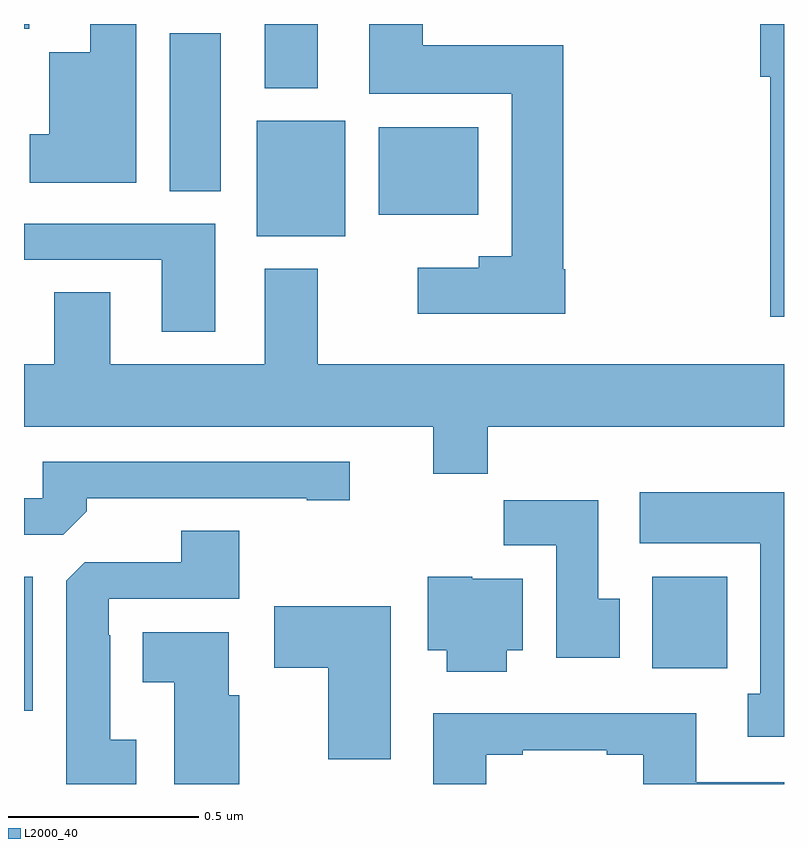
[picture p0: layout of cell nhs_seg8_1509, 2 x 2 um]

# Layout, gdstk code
import gdstk
lib = gdstk.Library(unit=1e-6, precision=1e-09)
def R(c, l, rs):  # rectangles x0, y0, x1, y1
    for r in rs: c.add(gdstk.rectangle(r[:2], r[2:], *l))
def P(c, l, *ps):  # polygons
    for p in ps: c.add(gdstk.Polygon(p, *l))
L2000_40 = (2000, 40)

nhs_seg8_1509 = lib.new_cell('nhs_seg8_1509')
R(nhs_seg8_1509, L2000_40, [(131,1109.093,131.023,1109.446), (132.653,1109.204,132.85,1109.446), (131.612,1110.341,131.845,1110.646), (131.933,1110.398,132.196,1110.628), (131.384,1110.46,131.518,1110.876), (131.633,1110.731,131.773,1110.9), (131,1110.888,131.014,1110.9)])
P(nhs_seg8_1509, L2000_40, [(132.424,1110.255),(132.419,1110.255),(132.419,1110.844),(132.049,1110.844),(132.049,1110.9),(131.909,1110.9),(131.909,1110.716),(132.284,1110.716),(132.284,1110.289),(132.197,1110.289),(132.197,1110.259),(132.036,1110.259),(132.036,1110.137),(132.424,1110.137)],
  [(133,1110.9),(132.938,1110.9),(132.938,1110.761),(132.964,1110.761),(132.964,1110.129),(133,1110.129)],
  [(131.296,1110.9),(131.174,1110.9),(131.174,1110.826),(131.066,1110.826),(131.066,1110.61),(131.015,1110.61),(131.015,1110.482),(131.296,1110.482)],
  [(131.503,1110.375),(131,1110.375),(131,1110.279),(131.363,1110.279),(131.363,1110.09),(131.503,1110.09)],
  [(132.221,1109.84),(133,1109.84),(133,1110.004),(131.773,1110.004),(131.773,1110.256),(131.633,1110.256),(131.633,1110.004),(131.227,1110.004),(131.227,1110.194),(131.08,1110.194),(131.08,1110.004),(131,1110.004),(131,1109.84),(132.077,1109.84),(132.077,1109.716),(132.221,1109.716)],
  [(131.165,1109.618),(131.165,1109.652),(131.744,1109.652),(131.744,1109.647),(131.857,1109.647),(131.857,1109.748),(131.049,1109.748),(131.049,1109.652),(131,1109.652),(131,1109.556),(131.103,1109.556)],
  [(133,1109.668),(132.621,1109.668),(132.621,1109.534),(132.938,1109.534),(132.938,1109.138),(132.905,1109.138),(132.905,1109.025),(133,1109.025)],
  [(132.568,1109.388),(132.511,1109.388),(132.511,1109.647),(132.262,1109.647),(132.262,1109.528),(132.401,1109.528),(132.401,1109.232),(132.568,1109.232)],
  [(131.296,1109.017),(131.227,1109.017),(131.227,1109.291),(131.223,1109.291),(131.223,1109.388),(131.567,1109.388),(131.567,1109.567),(131.414,1109.567),(131.414,1109.484),(131.16,1109.484),(131.111,1109.435),(131.111,1108.9),(131.296,1108.9)],
  [(132.271,1109.252),(132.313,1109.252),(132.313,1109.44),(132.18,1109.44),(132.18,1109.446),(132.062,1109.446),(132.062,1109.252),(132.113,1109.252),(132.113,1109.195),(132.271,1109.195)],
  [(131.965,1109.368),(131.658,1109.368),(131.658,1109.206),(131.801,1109.206),(131.801,1108.965),(131.965,1108.965)],
  [(131.566,1109.133),(131.539,1109.133),(131.539,1109.299),(131.312,1109.299),(131.312,1109.168),(131.396,1109.168),(131.396,1108.9),(131.566,1108.9)],
  [(132.217,1108.977),(132.313,1108.977),(132.313,1108.989),(132.533,1108.989),(132.533,1108.977),(132.629,1108.977),(132.629,1108.9),(133,1108.9),(133,1108.905),(132.769,1108.905),(132.769,1109.086),(132.077,1109.086),(132.077,1108.9),(132.217,1108.9)])

lib.write_gds('nhs_seg8_1509.gds')
